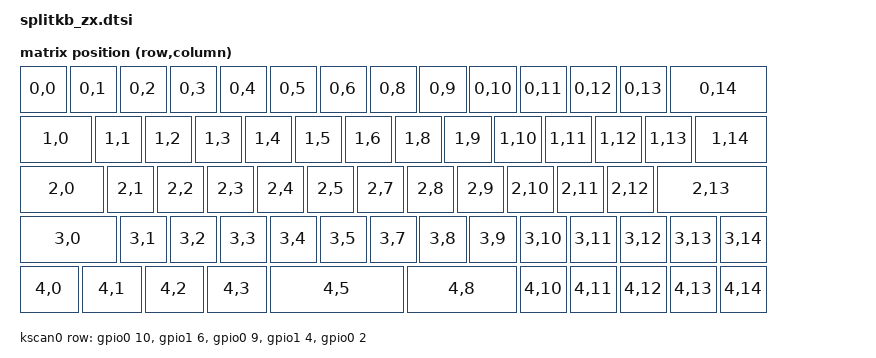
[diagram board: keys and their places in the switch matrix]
#include <dt-bindings/zmk/matrix_transform.h>
#include <physical_layouts.dtsi>

/ {
    chosen {
        zmk,kscan = &kscan0;
        zmk,physical-layout = &physical_layout0;
    };

    kscan0: kscan0 {
        compatible = "zmk,kscan-gpio-matrix";
        diode-direction = "col2row";
        wakeup-source;
        row-gpios
            = <&gpio0 10 (GPIO_ACTIVE_HIGH | GPIO_PULL_DOWN)>
            , <&gpio1 6 (GPIO_ACTIVE_HIGH | GPIO_PULL_DOWN)>
            , <&gpio0 9 (GPIO_ACTIVE_HIGH | GPIO_PULL_DOWN)>
            , <&gpio1 4 (GPIO_ACTIVE_HIGH | GPIO_PULL_DOWN)>
            , <&gpio0 2 (GPIO_ACTIVE_HIGH | GPIO_PULL_DOWN)>
            ;
        };
    default_transform: matrix_transform {
            compatible = "zmk,matrix-transform";
            rows = <5>;
            columns = <15>;

            map = <
                RC(0,0) RC(0,1) RC(0,2) RC(0,3) RC(0,4) RC(0,5) RC(0,6)            RC(0,8) RC(0,9) RC(0,10) RC(0,11) RC(0,12) RC(0,13) RC(0,14)
                RC(1,0) RC(1,1) RC(1,2) RC(1,3) RC(1,4) RC(1,5) RC(1,6)            RC(1,8) RC(1,9) RC(1,10) RC(1,11) RC(1,12) RC(1,13) RC(1,14)
                RC(2,0) RC(2,1) RC(2,2) RC(2,3) RC(2,4) RC(2,5)            RC(2,7) RC(2,8) RC(2,9) RC(2,10) RC(2,11) RC(2,12) RC(2,13)
                RC(3,0) RC(3,1) RC(3,2) RC(3,3) RC(3,4) RC(3,5)            RC(3,7) RC(3,8) RC(3,9) RC(3,10) RC(3,11) RC(3,12) RC(3,13) RC(3,14) 
                RC(4,0) RC(4,1) RC(4,2) RC(4,3)         RC(4,5)                    RC(4,8)         RC(4,10) RC(4,11) RC(4,12) RC(4,13) RC(4,14)
            >;
    };

    leds {
        compatible = "gpio-leds";
        blue_led: led_0 {
            gpios = <&gpio1 11 GPIO_ACTIVE_HIGH>;
        };
    };

    // Node name must match original "EXT_POWER" label to preserve user settings.
    EXT_POWER {
        compatible = "zmk,ext-power-generic";
        control-gpios = <&gpio0 3 GPIO_ACTIVE_LOW>;
        init-delay-ms = <50>;
    };

    vbatt: vbatt {
        compatible = "zmk,battery-voltage-divider";
        io-channels = <&adc 4>;
        output-ohms = <2000000>;
        full-ohms = <(2000000 + 820000)>;
    };

    physical_layout0: physical_layout_0 {
        compatible = "zmk,physical-layout";
        display-name = "Default Layout";

        kscan = <&kscan0>;
        transform = <&default_transform>;

        keys  //                     w   h    x    y     rot    rx    ry
            = <&key_physical_attrs 100 100    0    0       0     0     0> //ESC
            , <&key_physical_attrs 100 100   100   0       0     0     0> //1
            , <&key_physical_attrs 100 100   200   0       0     0     0> //2
            , <&key_physical_attrs 100 100   300   0       0     0     0> //3
            , <&key_physical_attrs 100 100   400   0       0     0     0> //4
            , <&key_physical_attrs 100 100   500   0       0     0     0> //5
            , <&key_physical_attrs 100 100   600   0       0     0     0> //6
            , <&key_physical_attrs 100 100   700   0       0     0     0> //7
            , <&key_physical_attrs 100 100   800   0       0     0     0> //8
            , <&key_physical_attrs 100 100   900   0       0     0     0> //9
            , <&key_physical_attrs 100 100  1000   0       0     0     0> //0
            , <&key_physical_attrs 100 100  1100   0       0     0     0> //-
            , <&key_physical_attrs 100 100  1200   0       0     0     0> //=
            , <&key_physical_attrs 200 100  1300   0       0     0     0> //Back
            , <&key_physical_attrs 150 100    0    100     0     0     0> //TAB
            , <&key_physical_attrs 100 100   150   100     0     0     0> //Q
            , <&key_physical_attrs 100 100   250   100     0     0     0> //W
            , <&key_physical_attrs 100 100   350   100     0     0     0> //E
            , <&key_physical_attrs 100 100   450   100     0     0     0> //R
            , <&key_physical_attrs 100 100   550   100     0     0     0> //T
            , <&key_physical_attrs 100 100   650   100     0     0     0> //Y
            , <&key_physical_attrs 100 100   750   100     0     0     0> //U
            , <&key_physical_attrs 100 100   850   100     0     0     0> //I
            , <&key_physical_attrs 100 100   950   100     0     0     0> //O
            , <&key_physical_attrs 100 100  1050   100     0     0     0> //P
            , <&key_physical_attrs 100 100  1150   100     0     0     0> //[
            , <&key_physical_attrs 100 100  1250   100     0     0     0> //]
            , <&key_physical_attrs 150 100  1350   100     0     0     0> //\
            , <&key_physical_attrs 175 100    0    200     0     0     0> //CAP
            , <&key_physical_attrs 100 100   175   200     0     0     0> //A
            , <&key_physical_attrs 100 100   275   200     0     0     0> //S
            , <&key_physical_attrs 100 100   375   200     0     0     0> //D
            , <&key_physical_attrs 100 100   475   200     0     0     0> //F
            , <&key_physical_attrs 100 100   575   200     0     0     0> //G
            , <&key_physical_attrs 100 100   675   200     0     0     0> //H
            , <&key_physical_attrs 100 100   775   200     0     0     0> //J
            , <&key_physical_attrs 100 100   875   200     0     0     0> //K
            , <&key_physical_attrs 100 100   975   200     0     0     0> //L
            , <&key_physical_attrs 100 100  1075   200     0     0     0> //;
            , <&key_physical_attrs 100 100  1175   200     0     0     0> //'
            , <&key_physical_attrs 225 100  1275   200     0     0     0> //ENTER
            , <&key_physical_attrs 200 100    0    300     0     0     0> //SHIFT
            , <&key_physical_attrs 100 100   200   300     0     0     0> //Z
            , <&key_physical_attrs 100 100   300   300     0     0     0> //X
            , <&key_physical_attrs 100 100   400   300     0     0     0> //C
            , <&key_physical_attrs 100 100   500   300     0     0     0> //V
            , <&key_physical_attrs 100 100   600   300     0     0     0> //B
            , <&key_physical_attrs 100 100   700   300     0     0     0> //N
            , <&key_physical_attrs 100 100   800   300     0     0     0> //M
            , <&key_physical_attrs 100 100   900   300     0     0     0> //,
            , <&key_physical_attrs 100 100  1000   300     0     0     0> //.
            , <&key_physical_attrs 100 100  1100   300     0     0     0> ///
            , <&key_physical_attrs 100 100  1200   300     0     0     0> //HOME
            , <&key_physical_attrs 100 100  1300   300     0     0     0> //UP
            , <&key_physical_attrs 100 100  1400   300     0     0     0> //MO3
            , <&key_physical_attrs 125 100    0    400     0     0     0> //CTRL
            , <&key_physical_attrs 125 100   125   400     0     0     0> //WIN
            , <&key_physical_attrs 125 100   250   400     0     0     0> //MO1
            , <&key_physical_attrs 125 100   375   400     0     0     0> //ALT
            , <&key_physical_attrs 275 100   500   400     0     0     0> //SPACE
            , <&key_physical_attrs 225 100   775   400     0     0     0> //MO2
            , <&key_physical_attrs 100 100  1000   400     0     0     0> //PGUP
            , <&key_physical_attrs 100 100  1100   400     0     0     0> //PGDW
            , <&key_physical_attrs 100 100  1200   400     0     0     0> //LIFT
            , <&key_physical_attrs 100 100  1300   400     0     0     0> //DOWN
            , <&key_physical_attrs 100 100  1400   400     0     0     0> //RIGHT
            ;
    };
};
